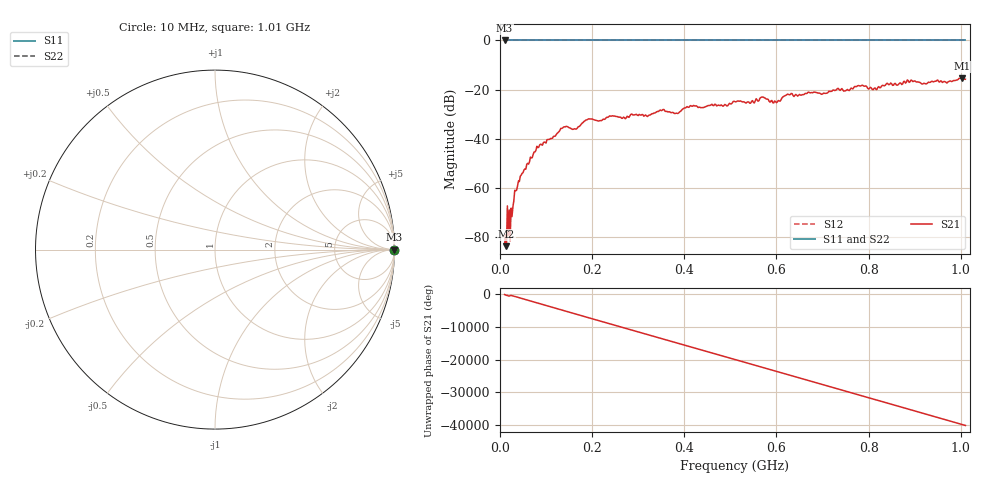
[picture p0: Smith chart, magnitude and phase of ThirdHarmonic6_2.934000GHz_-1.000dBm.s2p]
! 8/17/2025 8:12:15 AM
! C:\ANRITSUVNA\TEMP\TEMP.S2P
! CHANNEL.1
! TR.MEASUREMENT
! RAW.DATA
! RF.CORRECTION.OFF
! AVERAGING.OFF
! IF.BANDWIDTH: 5KHZ
! SWEEPTYPE:  FREQ.SWEEP(Linear)
! Reference Plane Port Info
! PORT:  PORT1  PORT2
! DISTANCE:  0  m  0  m
! TIME:  0  s  0  s
! PHASE.OFFSET:  0  deg.  0  deg.
! LOSS:  0  dB  0  dB
! REF.LOSS:  0  dB  0  dB
! REF.FREQ:  0  Hz  0  Hz
! Power Info
! POWER:  -20  dBm  -20  dBm
! EFF.POWER:  -20  dBm  -20  dBm
! SOURCE.ATTEN:  0  dB  0  dB
! TEST.ATTEN:  0  dB  0  dB
# GHZ S RI R 50.0
! FREQ.GHZ  S11RE  S11IM  S21RE  S21IM  S12RE  S12IM  S22RE  S22IM
!; PortSelection: Port_12
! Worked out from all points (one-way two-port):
!   501 points, 10 MHz to 1.01 GHz, reference 50 ohm
!   highest |S21| = -15.36 dB at 1.002 GHz (marker M1); lowest = -83.6 dB at 14 MHz (marker M2)
!   lowest |S11| = 0.0 dB at 10 MHz (marker M3)
!   |S11| at or under -10 dB: nowhere
!   |S22| runs from 0.0 to 0.0 dB; largest |S21 - S12| = 1.2
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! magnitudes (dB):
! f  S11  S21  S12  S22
! 10 MHz  0.0  -83.1  0.0  0.0
! 14 MHz  0.0  -83.6  0.0  0.0
! 20 MHz  0.0  -68.9  0.0  0.0
! 22 MHz  0.0  -81.4  0.0  0.0
! 34 MHz  0.0  -61.1  0.0  0.0
! 44 MHz  0.0  -55.2  0.0  0.0
! 78 MHz  0.0  -44.6  0.0  0.0
! 136 MHz  0.0  -35.5  0.0  0.0
! 162 MHz  0.0  -35.9  0.0  0.0
! 178 MHz  0.0  -33.6  0.0  0.0
! 344 MHz  0.0  -28.8  0.0  0.0
! 382 MHz  0.0  -29.5  0.0  0.0
! 416 MHz  0.0  -26.7  0.0  0.0
! 510 MHz  0.0  -24.9  0.0  0.0
! 570 MHz  0.0  -23.0  0.0  0.0
! 596 MHz  0.0  -24.6  0.0  0.0
! 622 MHz  0.0  -22.1  0.0  0.0
! 678 MHz  0.0  -21.3  0.0  0.0
! 814 MHz  0.0  -19.3  0.0  0.0
! 844 MHz  0.0  -18.0  0.0  0.0
! 1.002 GHz  0.0  -15.4  0.0  0.0
! 1.01 GHz  0.0  -15.8  0.0  0.0
